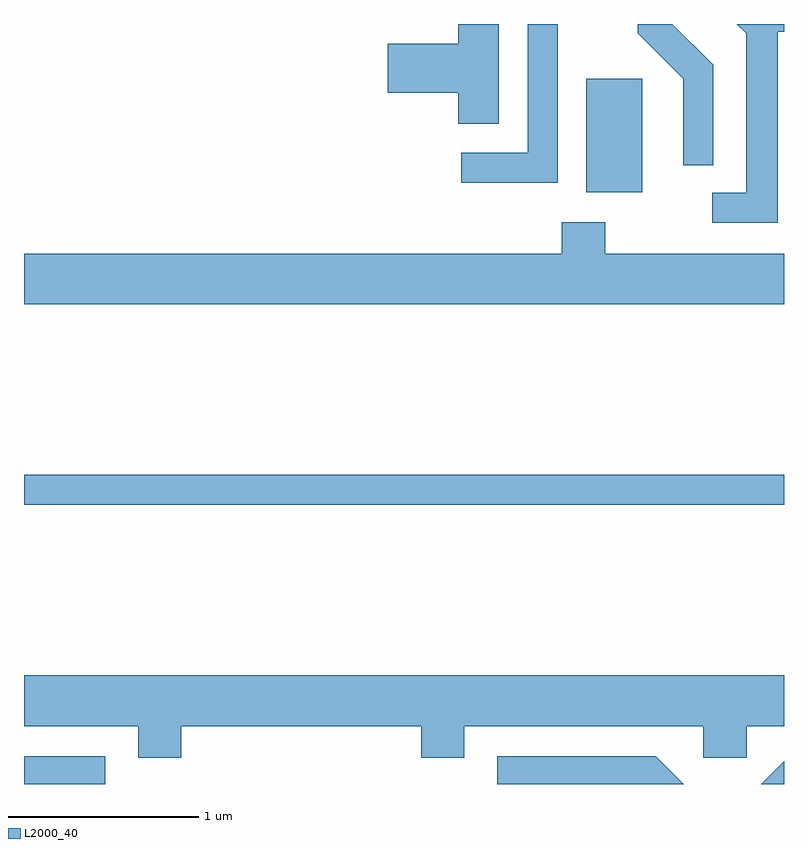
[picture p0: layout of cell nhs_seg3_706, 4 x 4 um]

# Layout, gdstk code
import gdstk
lib = gdstk.Library(unit=1e-6, precision=1e-09)
def R(c, l, rs):  # rectangles x0, y0, x1, y1
    for r in rs: c.add(gdstk.rectangle(r[:2], r[2:], *l))
def P(c, l, *ps):  # polygons
    for p in ps: c.add(gdstk.Polygon(p, *l))
L2000_40 = (2000, 40)

nhs_seg3_706 = lib.new_cell('nhs_seg3_706')
R(nhs_seg3_706, L2000_40, [(205.611,1167.892,206.039,1168.039), (205.611,1169.361,209.611,1169.519), (208.571,1171.006,208.864,1171.604)])
P(nhs_seg3_706, L2000_40, [(209.579,1171.851),(209.611,1171.851),(209.611,1171.892),(209.363,1171.892),(209.411,1171.844),(209.411,1171.004),(209.233,1171.004),(209.233,1170.846),(209.579,1170.846)],
  [(208.419,1171.892),(208.261,1171.892),(208.261,1171.214),(207.913,1171.214),(207.913,1171.056),(208.419,1171.056)],
  [(209.239,1171.677),(209.024,1171.892),(208.841,1171.892),(208.841,1171.844),(209.081,1171.604),(209.081,1171.148),(209.239,1171.148)],
  [(208.109,1171.892),(207.896,1171.892),(207.896,1171.789),(207.526,1171.789),(207.526,1171.531),(207.896,1171.531),(207.896,1171.366),(208.109,1171.366)],
  [(209.611,1170.684),(208.669,1170.684),(208.669,1170.849),(208.441,1170.849),(208.441,1170.684),(205.611,1170.684),(205.611,1170.416),(209.611,1170.416)],
  [(206.439,1168.196),(207.701,1168.196),(207.701,1168.031),(207.929,1168.031),(207.929,1168.196),(209.186,1168.196),(209.186,1168.031),(209.414,1168.031),(209.414,1168.196),(209.611,1168.196),(209.611,1168.464),(205.611,1168.464),(205.611,1168.196),(206.211,1168.196),(206.211,1168.031),(206.439,1168.031)],
  [(208.937,1168.039),(208.101,1168.039),(208.101,1167.892),(209.084,1167.892)],
  [(209.611,1168.011),(209.492,1167.892),(209.611,1167.892)])

lib.write_gds('nhs_seg3_706.gds')
